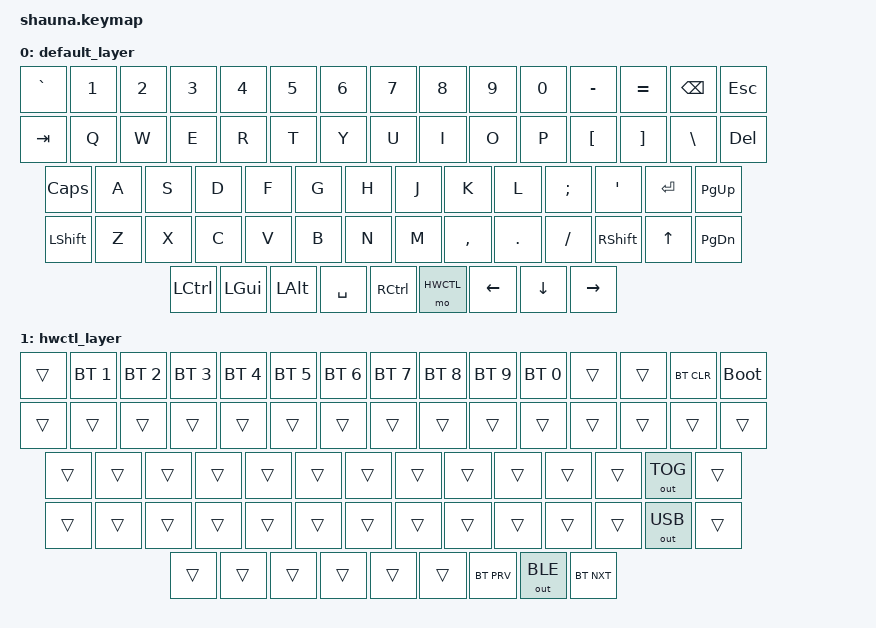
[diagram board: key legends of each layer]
#include <behaviors.dtsi>
#include <dt-bindings/zmk/keys.h>
#include <dt-bindings/zmk/bt.h>
#include <dt-bindings/zmk/outputs.h>

#define DEFAULT 0
#define HWCTL 1

/ {
    keymap {
        compatible = "zmk,keymap";

        default_layer {
// -----------------------------------------------------------------------------------------------------------------------------------------------------------------
// |    `    |    1    |    2    |    3    |    4    |    5    |    6    |    7    |    8    |    9    |    0    |    -    |    =    |        BSPC       |   ESC   |
// |      TAB      |    Q    |    W    |    E    |    R    |    T    |    Y    |    U    |    I    |    O    |    P    |    [    |    ]    |     \       |    ?    |
// |     CAPSLOCK      |    A    |    S    |    D    |    F    |    G    |    H    |    J    |    K    |    L    |    ;    |    '    |      RETURN       |    ?    |
// |        LSHIFT          |    Z    |    X    |    C    |    V    |    B    |    N    |    M    |    ,    |    .    |    /    |    RSHIFT    |    UP   |    ?    |
// |     LCTRL     |    META    |    LALT   |                         SPACE                             |     RCTRL    |    ?    |   |   LEFT  |   DOWN  |  RIGHT  |
// -----------------------------------------------------------------------------------------------------------------------------------------------------------------
            bindings = <
    &kp GRAVE &kp N1 &kp N2 &kp N3 &kp N4 &kp N5 &kp N6 &kp N7 &kp   N8  &kp  N9 &kp  N0  &kp MINUS &kp EQUAL   &kp BSPC   &kp ESC
    &kp TAB    &kp Q  &kp W  &kp E  &kp R  &kp T  &kp Y  &kp U  &kp   I   &kp  O  &kp   P  &kp LBKT &kp RBKT    &kp BSLH   &kp DEL
    &kp CLCK    &kp A  &kp S  &kp D  &kp F  &kp G  &kp H  &kp J  &kp   K   &kp  L  &kp SEMI &kp SQT             &kp RET    &kp PG_UP
    &kp LSHFT             &kp Z  &kp X  &kp C  &kp V  &kp B  &kp N  &kp M  &kp COMMA &kp DOT &kp FSLH &kp RSHFT &kp UP     &kp PG_DN
    &kp LCTRL  &kp LGUI &kp LALT               &kp SPACE                     &kp  RCTRL  &mo HWCTL   &kp  LEFT  &kp  DOWN  &kp RIGHT
            >;
        };

        hwctl_layer {
// -----------------------------------------------------------------------------------------------------------------------------------------------------------------
// |         |BT_SEL 1 |BT_SEL 2 |BT_SEL 3 |BT_SEL 4 |BT_SEL 5 |BT_SEL 6 |BT_SEL 7 |BT_SEL 8 |BT_SEL 9 |BT_SEL 0 |         |         |       BT_CLR      |BOOTLOAD |
// |               |         |         |         |         |         |         |         |         |         |         |         |         |             |         |
// |                   |         |         |         |         |         |         |         |         |         |         |         |      OUT_TOG      |         |
// |                        |         |         |         |         |         |         |         |         |         |         |              | OUT_USB |         |
// |               |            |           |                                                           |              |         |   | BT_PRV  | OUT_BLE | BT_NXT  |
// -----------------------------------------------------------------------------------------------------------------------------------------------------------------
            bindings = <
    &trans    &bt BT_SEL 1 &bt BT_SEL 2 &bt BT_SEL 3 &bt BT_SEL 4 &bt BT_SEL 5 &bt BT_SEL 6 &bt BT_SEL 7 &bt BT_SEL 8 &bt BT_SEL 9 &bt BT_SEL 0  &trans    &trans      &bt BT_CLR    &bootloader
    &trans     &trans &trans &trans &trans &trans &trans &trans &trans    &trans  &trans   &trans   &trans      &trans        &trans
    &trans      &trans &trans &trans &trans &trans &trans &trans &trans    &trans  &trans   &trans              &out OUT_TOG  &trans
    &trans                &trans &trans &trans &trans &trans &trans &trans &trans    &trans  &trans   &trans    &out OUT_USB  &trans
    &trans     &trans   &trans                 &trans                        &trans      &trans    &bt BT_PRV   &out OUT_BLE  &bt BT_NXT
            >;
        };
    };
};
